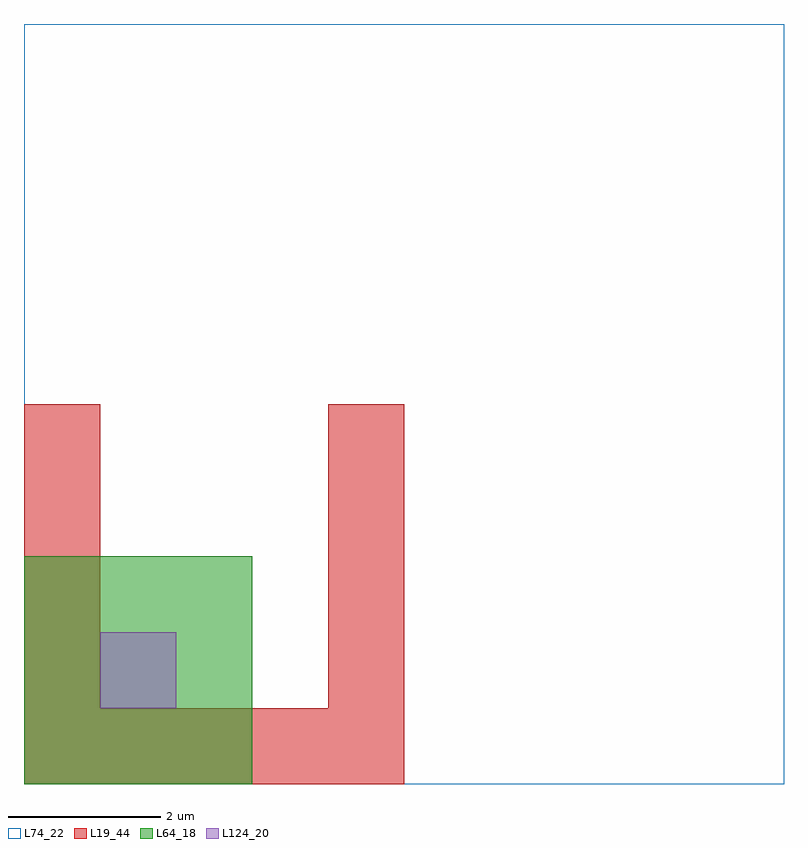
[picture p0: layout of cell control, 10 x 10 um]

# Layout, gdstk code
import gdstk
lib = gdstk.Library(unit=1e-6, precision=1e-09)
def R(c, l, rs):  # rectangles x0, y0, x1, y1
    for r in rs: c.add(gdstk.rectangle(r[:2], r[2:], *l))
L19_44 = (19, 44)
L64_18 = (64, 18)
L74_22 = (74, 22)
L124_20 = (124, 20)

control = lib.new_cell('control')
R(control, L19_44, [(0,0,5,1), (0,1,1,5), (4,1,5,5)])
R(control, L64_18, [(0,0,3,3)])
R(control, L74_22, [(0,0,10,10)])
R(control, L124_20, [(1,1,2,2)])

lib.write_gds('control.gds')
